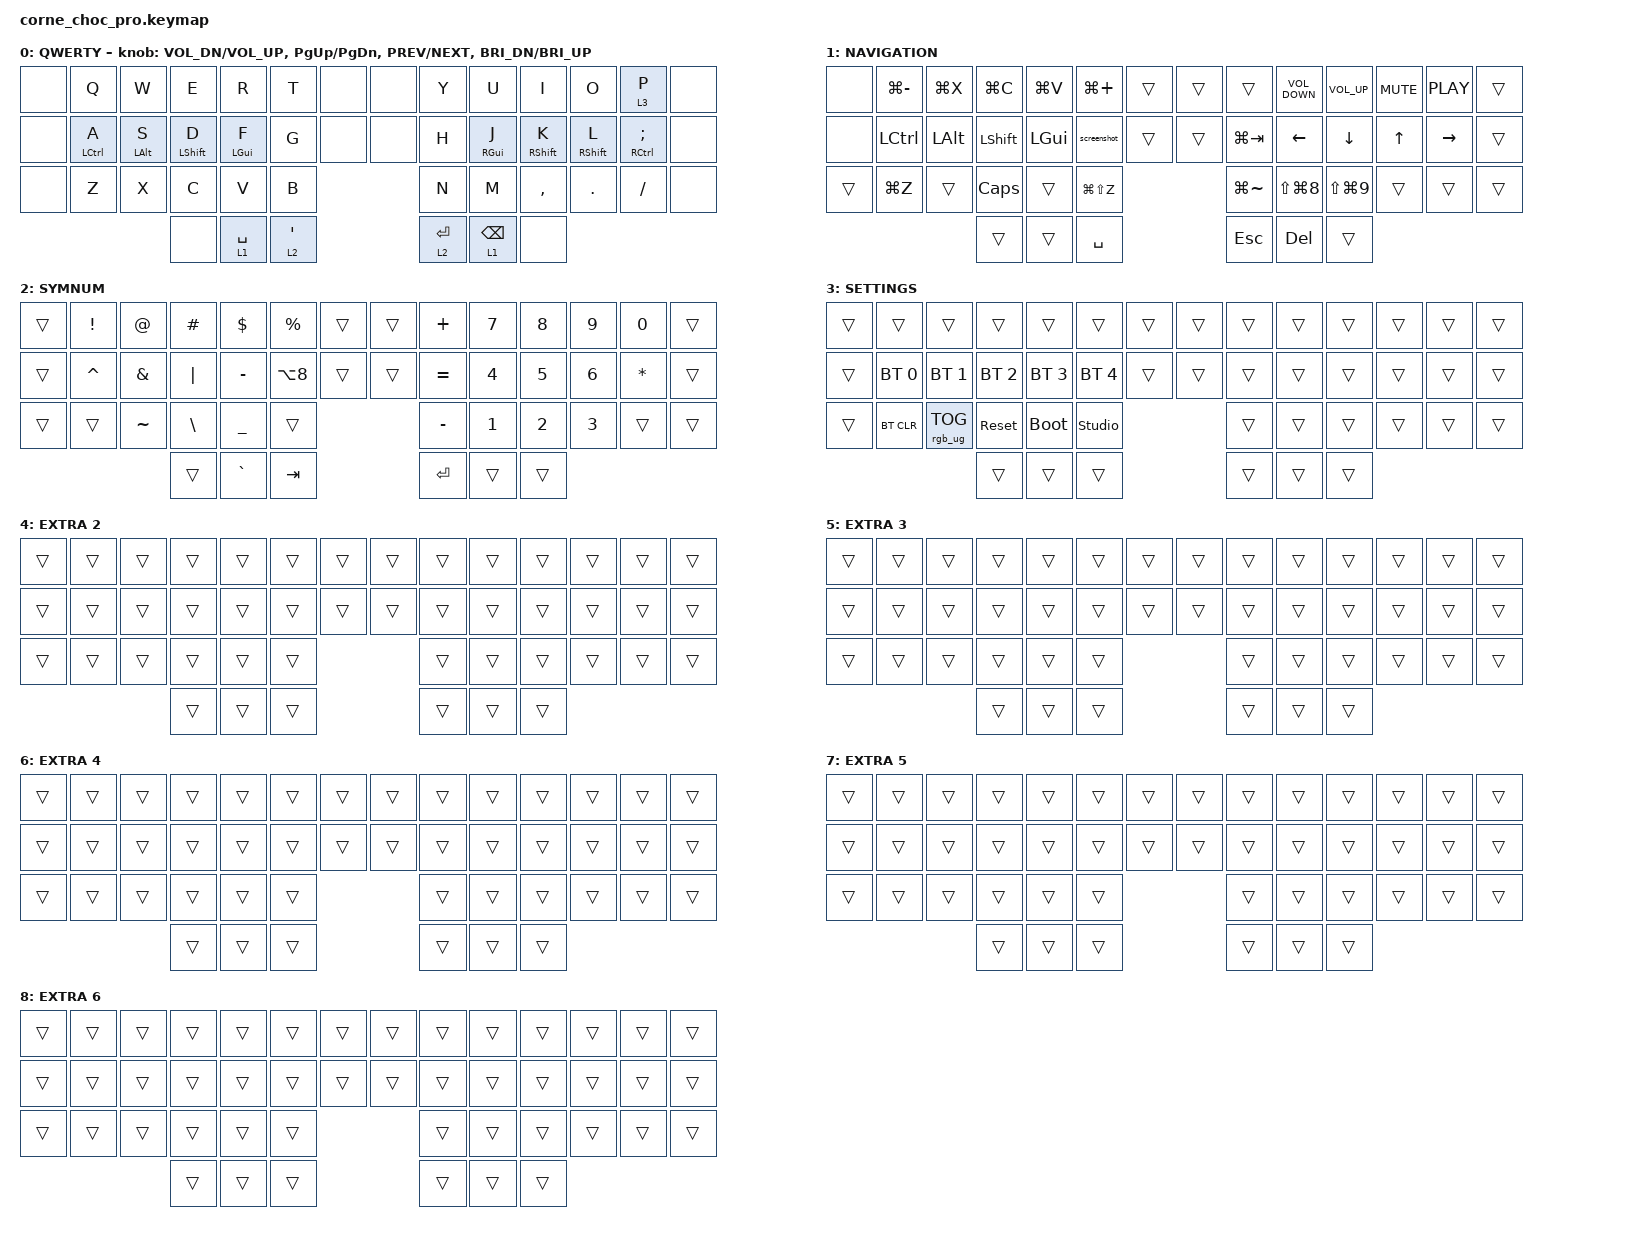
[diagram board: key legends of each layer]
/*
 * Copyright (c) 2020 The ZMK Contributors
 *
 * SPDX-License-Identifier: MIT
 */

#include <behaviors.dtsi>
#include <dt-bindings/zmk/bt.h>
#include <dt-bindings/zmk/keys.h>
#include <dt-bindings/zmk/rgb.h>

/ {
    chosen { zmk,physical-layout = &default_layout; };
};

/ {
    combos {
        compatible = "zmk,combos";

        open_parenthesis {
            bindings = <&kp LEFT_PARENTHESIS>;
            key-positions = <17 18>;
        };

        open_brace {
            bindings = <&kp LEFT_BRACE>;
            key-positions = <3 4>;
        };

        open_bracket {
            bindings = <&kp LEFT_BRACKET>;
            key-positions = <31 32>;
        };

        close_parenthesis {
            bindings = <&kp RIGHT_PARENTHESIS>;
            key-positions = <23 24>;
        };

        close_brace {
            bindings = <&kp RIGHT_BRACE>;
            key-positions = <9 10>;
        };

        close_bracket {
            bindings = <&kp RIGHT_BRACKET>;
            key-positions = <35 36>;
        };

        less {
            bindings = <&kp LESS_THAN>;
            key-positions = <16 18>;
        };

        greater {
            bindings = <&kp GREATER_THAN>;
            key-positions = <25 23>;
        };

        enie_smart {
            bindings = <&enie_smart>;
            key-positions = <36 37>;
        };

        escape {
            bindings = <&kp ESCAPE>;
            key-positions = <10 11>;
        };

        tab {
            bindings = <&kp TAB>;
            key-positions = <2 3>;
        };

        bckspace {
            bindings = <&kp BACKSPACE>;
            key-positions = <24 25>;
        };

        del {
            bindings = <&kp DEL>;
            key-positions = <16 17>;
        };
    };

    macros {
        enie: enie {
            compatible = "zmk,behavior-macro";
            #binding-cells = <0>;
            bindings = <&kp LA(N) &kp N>;
            label = "ENIE";
        };

        enie_upper: enie_upper {
            compatible = "zmk,behavior-macro";
            #binding-cells = <0>;
            bindings = <&kp LA(N) &kp LS(N)>;
            label = "ENIE_UPPER";
        };

        screenshot: screenshot {
            compatible = "zmk,behavior-macro";
            #binding-cells = <0>;
            bindings =
                <&macro_press>,
                <&kp LEFT_GUI &kp LEFT_SHIFT>,
                <&macro_tap>,
                <&kp NUMBER_4>,
                <&macro_release>,
                <&kp LEFT_GUI &kp LEFT_SHIFT>;

            label = "SCREENSHOT";
        };
    };

    behaviors {
        enie_smart: enie_smart {
            compatible = "zmk,behavior-mod-morph";
            label = "ENIE_SMART";
            bindings = <&enie>, <&enie_upper>;

            #binding-cells = <0>;
            mods = <(MOD_LSFT|MOD_RSFT)>;
        };
    };

    keymap {
        compatible = "zmk,keymap";

        default_layer {
            display-name = "QWERTY";

            // --------------------------------------------------------------------------------
            // |  TAB |  Q  |  W  |  E  |  R  |  T  |  MUTE |  PP   |  Y  |  U   |  I  |  O  |  P  | BSPC |
            // | CTRL |  A  |  S  |  D  |  F  |  G  |  LALT |  RALT |  H  |  J   |  K  |  L  |  ;  |  '   |
            // | SHFT |  Z  |  X  |  C  |  V  |  B  |               |  N  |  M   |  ,  |  .  |  /  | ESC  |
            //                    | GUI | LWR | SPC |               | ENT | RSE  | ALT |

            bindings = <
&none  &kp Q        &kp W           &kp E             &kp R           &kp T      &none  &none  &kp Y        &kp U            &kp I              &kp O              &lt 3 P                 &none
&none  &mt LCTRL A  &mt LEFT_ALT S  &mt LEFT_SHIFT D  &mt LEFT_GUI F  &kp G      &none  &none  &kp H        &mt RIGHT_GUI J  &mt RIGHT_SHIFT K  &mt RIGHT_SHIFT L  &mt RIGHT_CONTROL SEMI  &none
&none  &kp Z        &kp X           &kp C             &kp V           &kp B                    &kp N        &kp M            &kp COMMA          &kp DOT            &kp FSLH                &none
                                    &none             &lt 1 SPACE     &lt 2 SQT                &lt 2 ENTER  &lt 1 BACKSPACE  &none
            >;

            sensor-bindings = <&inc_dec_kp C_VOL_DN C_VOL_UP &inc_dec_kp PG_UP PG_DN &inc_dec_kp C_PREV C_NEXT &inc_dec_kp C_BRI_DN C_BRI_UP>;
        };

        navigation_layer {
            display-name = "NAVIGATION";

            // -----------------------------------------------------------------------------------------
            // |  TAB |  1  |  2  |  3  |  4  |  5    |  LCTRL | RCTRL |  6  |  7  |  8  |  9  |  0  | BSPC |
            // | CTRL | BT1 | BT2 | BT3 | BT4 | BT5   |  LALT  | RALT  | LFT | DWN |  UP | RGT |     |      |
            // | SHFT | BTCR| RGB | RST | BOOT| Unlock|        |       |     |     |     |     |     |      |
            //                    | GUI |     | SPC   |        | ENT   |     | ALT |

            bindings = <
&none   &kp LG(MINUS)     &kp LG(X)     &kp LG(C)       &kp LG(V)     &kp LG(PLUS)   &trans  &trans  &trans         &kp C_VOLUME_DOWN  &kp C_VOLUME_UP  &kp C_MUTE  &kp C_PLAY  &trans
&none   &kp LEFT_CONTROL  &kp LEFT_ALT  &kp LEFT_SHIFT  &kp LEFT_GUI  &screenshot    &trans  &trans  &kp LG(TAB)    &kp LEFT           &kp DOWN         &kp UP      &kp RIGHT   &trans
&trans  &kp LG(Z)         &trans        &kp CAPSLOCK    &trans        &kp LG(LS(Z))                  &kp LG(TILDE)  &kp LS(LG(N8))     &kp LS(LG(N9))   &trans      &trans      &trans
                                        &trans          &trans        &kp SPACE                      &kp ESCAPE     &kp DELETE         &trans
            >;
        };

        symnum_layer {
            display-name = "SYMNUM";

            // -----------------------------------------------------------------------------------------
            // |  TAB |  !  |  @  |  #  |  $  |  %  | LCTRL | RCTRL |  ^  |  &  |  *  |  (  |  )  | BSPC |
            // | CTRL |     |     |     |     |     |  LALT | RALT  |  -  |  =  |  [  |  ]  |  \  |  `   |
            // | SHFT |     |     |     |     |     |               |  _  |  +  |  {  |  }  | "|" |  ~   |
            //                    | GUI |     | SPC |               | ENT |     | ALT |

            bindings = <
&trans  &kp EXCL   &kp AT         &kp HASH       &kp DLLR   &kp PRCNT   &trans  &trans  &kp PLUS   &kp N7  &kp N8  &kp N9  &kp N0        &trans
&trans  &kp CARET  &kp AMPERSAND  &kp PIPE       &kp MINUS  &kp LA(N8)  &trans  &trans  &kp EQUAL  &kp N4  &kp N5  &kp N6  &kp ASTERISK  &trans
&trans  &trans     &kp TILDE      &kp BACKSLASH  &kp UNDER  &trans                      &kp MINUS  &kp N1  &kp N2  &kp N3  &trans        &trans
                                  &trans         &kp GRAVE  &kp TAB                     &kp RET    &trans  &trans
            >;
        };

        settings_layer {
            display-name = "SETTINGS";
            bindings = <
&trans  &trans        &trans           &trans        &trans        &trans          &trans  &trans  &trans  &trans  &trans  &trans  &trans  &trans
&trans  &bt BT_SEL 0  &bt BT_SEL 1     &bt BT_SEL 2  &bt BT_SEL 3  &bt BT_SEL 4    &trans  &trans  &trans  &trans  &trans  &trans  &trans  &trans
&trans  &bt BT_CLR    &rgb_ug RGB_TOG  &sys_reset    &bootloader   &studio_unlock                  &trans  &trans  &trans  &trans  &trans  &trans
                                       &trans        &trans        &trans                          &trans  &trans  &trans
            >;
        };

        extra_layer_2 {
            display-name = "EXTRA 2";
            bindings = <
&trans  &trans  &trans  &trans  &trans  &trans  &trans  &trans  &trans  &trans  &trans  &trans  &trans  &trans
&trans  &trans  &trans  &trans  &trans  &trans  &trans  &trans  &trans  &trans  &trans  &trans  &trans  &trans
&trans  &trans  &trans  &trans  &trans  &trans                  &trans  &trans  &trans  &trans  &trans  &trans
                        &trans  &trans  &trans                  &trans  &trans  &trans
            >;
        };

        extra_layer_3 {
            display-name = "EXTRA 3";
            bindings = <
&trans  &trans  &trans  &trans  &trans  &trans  &trans  &trans  &trans  &trans  &trans  &trans  &trans  &trans
&trans  &trans  &trans  &trans  &trans  &trans  &trans  &trans  &trans  &trans  &trans  &trans  &trans  &trans
&trans  &trans  &trans  &trans  &trans  &trans                  &trans  &trans  &trans  &trans  &trans  &trans
                        &trans  &trans  &trans                  &trans  &trans  &trans
            >;
        };

        extra_layer_4 {
            display-name = "EXTRA 4";
            bindings = <
&trans  &trans  &trans  &trans  &trans  &trans  &trans  &trans  &trans  &trans  &trans  &trans  &trans  &trans
&trans  &trans  &trans  &trans  &trans  &trans  &trans  &trans  &trans  &trans  &trans  &trans  &trans  &trans
&trans  &trans  &trans  &trans  &trans  &trans                  &trans  &trans  &trans  &trans  &trans  &trans
                        &trans  &trans  &trans                  &trans  &trans  &trans
            >;
        };

        extra_layer_5 {
            display-name = "EXTRA 5";
            bindings = <
&trans  &trans  &trans  &trans  &trans  &trans  &trans  &trans  &trans  &trans  &trans  &trans  &trans  &trans
&trans  &trans  &trans  &trans  &trans  &trans  &trans  &trans  &trans  &trans  &trans  &trans  &trans  &trans
&trans  &trans  &trans  &trans  &trans  &trans                  &trans  &trans  &trans  &trans  &trans  &trans
                        &trans  &trans  &trans                  &trans  &trans  &trans
            >;
        };

        extra_layer_6 {
            display-name = "EXTRA 6";
            bindings = <
&trans  &trans  &trans  &trans  &trans  &trans  &trans  &trans  &trans  &trans  &trans  &trans  &trans  &trans
&trans  &trans  &trans  &trans  &trans  &trans  &trans  &trans  &trans  &trans  &trans  &trans  &trans  &trans
&trans  &trans  &trans  &trans  &trans  &trans                  &trans  &trans  &trans  &trans  &trans  &trans
                        &trans  &trans  &trans                  &trans  &trans  &trans
            >;
        };
    };
};
